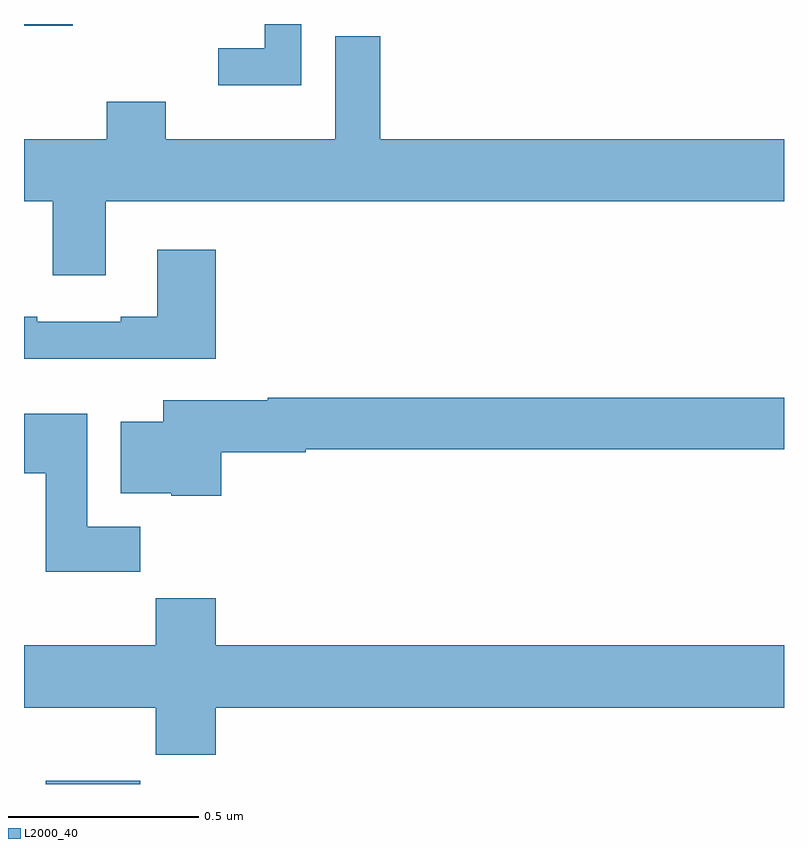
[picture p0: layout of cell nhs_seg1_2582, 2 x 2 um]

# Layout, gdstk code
import gdstk
lib = gdstk.Library(unit=1e-6, precision=1e-09)
def R(c, l, rs):  # rectangles x0, y0, x1, y1
    for r in rs: c.add(gdstk.rectangle(r[:2], r[2:], *l))
def P(c, l, *ps):  # polygons
    for p in ps: c.add(gdstk.Polygon(p, *l))
L2000_40 = (2000, 40)

nhs_seg1_2582 = lib.new_cell('nhs_seg1_2582')
R(nhs_seg1_2582, L2000_40, [(143.057,550.199,143.306,550.207), (143,552.195,143.128,552.199)])
P(nhs_seg1_2582, L2000_40, [(143.73,552.199),(143.634,552.199),(143.634,552.135),(143.511,552.135),(143.511,552.038),(143.73,552.038)],
  [(143.215,551.732),(145,551.732),(145,551.896),(143.938,551.896),(143.938,552.167),(143.819,552.167),(143.819,551.896),(143.373,551.896),(143.373,551.995),(143.218,551.995),(143.218,551.896),(143,551.896),(143,551.732),(143.075,551.732),(143.075,551.538),(143.215,551.538)],
  [(143.504,551.605),(143.351,551.605),(143.351,551.428),(143.255,551.428),(143.255,551.415),(143.035,551.415),(143.035,551.428),(143,551.428),(143,551.318),(143.504,551.318)],
  [(143.519,551.072),(143.742,551.072),(143.742,551.08),(145,551.08),(145,551.216),(143.642,551.216),(143.642,551.209),(143.366,551.209),(143.366,551.152),(143.255,551.152),(143.255,550.964),(143.388,550.964),(143.388,550.958),(143.519,550.958)],
  [(143.306,550.876),(143.167,550.876),(143.167,551.173),(143,551.173),(143,551.017),(143.057,551.017),(143.057,550.758),(143.306,550.758)],
  [(143.504,550.4),(145,550.4),(145,550.564),(143.504,550.564),(143.504,550.688),(143.347,550.688),(143.347,550.564),(143,550.564),(143,550.4),(143.347,550.4),(143.347,550.276),(143.504,550.276)])

lib.write_gds('nhs_seg1_2582.gds')
